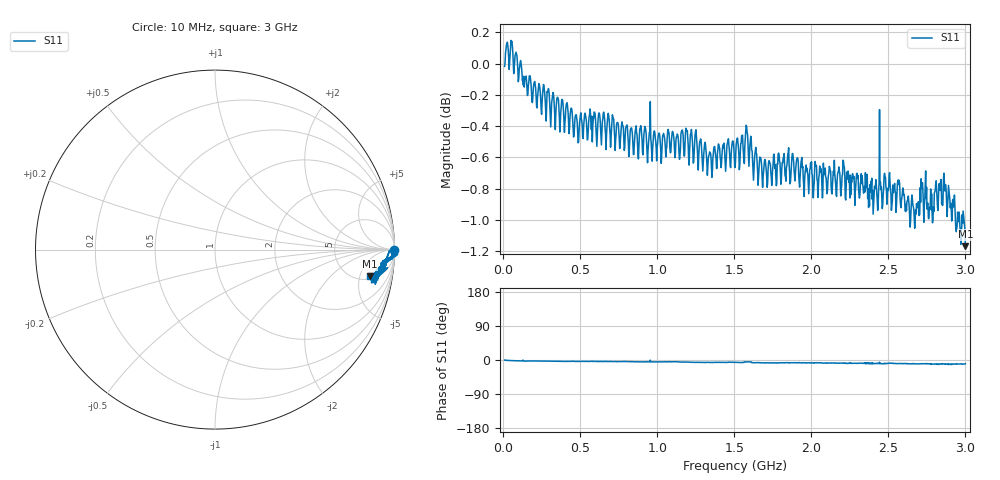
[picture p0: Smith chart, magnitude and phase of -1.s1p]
# HZ S RI R 50
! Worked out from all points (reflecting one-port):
!   1010 points, 10 MHz to 3 GHz, reference 50 ohm
!   lowest |S11| = -1.2 dB at 3 GHz (marker M1), VSWR 14.90, Z = 284 - j360 ohm
!   phase of S11 starts at -0 deg and turns -10 deg over the sweep
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1e7  0.9979 -0.00287
4.555996e7  1.008 -0.0238
1.522398e8  0.9863 -0.0469
3.863429e8  0.9715 -0.0595
7.597225e8  0.9402 -0.0659
9.07889e8  0.9317 -0.0783
9.404856e8  0.9347 -0.0778
1.133102e9  0.9455 -0.0796
1.293122e9  0.9234 -0.1002
1.506482e9  0.9212 -0.1014
1.547968e9  0.9415 -0.1123
1.580565e9  0.9503 -0.0899
1.595382e9  0.9237 -0.0796
1.627978e9  0.9172 -0.114
1.779108e9  0.9208 -0.1236
1.879861e9  0.9285 -0.1174
2.253241e9  0.9147 -0.1091
2.353994e9  0.8999 -0.1618
2.460674e9  0.8852 -0.1555
2.514014e9  0.9017 -0.1313
2.62662e9  0.8923 -0.1494
2.685887e9  0.8857 -0.1577
2.727374e9  0.8896 -0.1485
2.774787e9  0.8988 -0.1535
2.816274e9  0.889 -0.1651
2.854797e9  0.8905 -0.1626
2.905173e9  0.8835 -0.1834
3e9  0.8613 -0.1494
